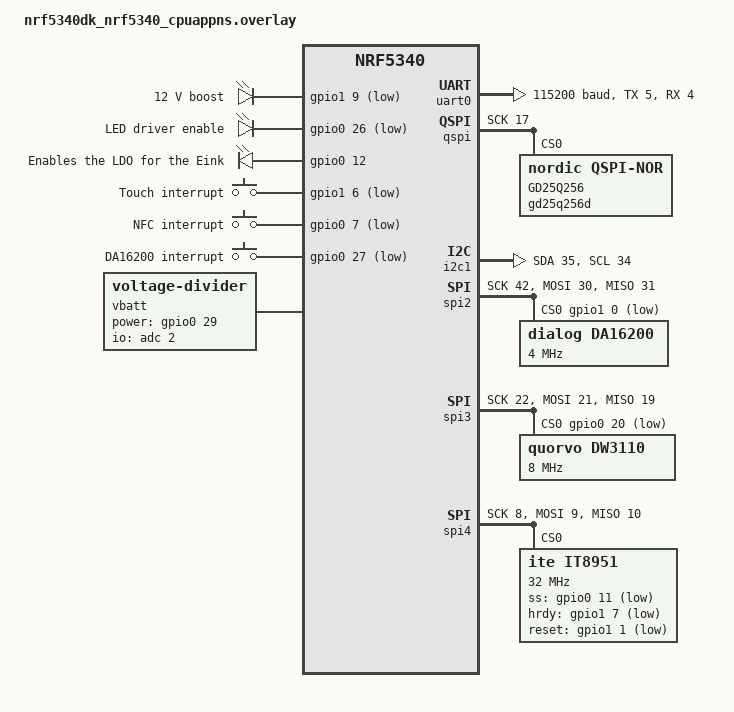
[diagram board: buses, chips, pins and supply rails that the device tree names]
/*
 * Copyright (c) 2020 Culvert, Inc
 *
 * SPDX-License-Identifier: LicenseRef-BSD-5-Clause-Nordic
 */
/ {

	leds {
		compatible = "gpio-leds";
		uwbreset: uwb_reset_1 {
		       gpios = <&gpio1 9 GPIO_ACTIVE_LOW>;
		       label = "12 V boost";
		};
		ledenable: led_enable_1 {
		       gpios = <&gpio0 26 GPIO_ACTIVE_LOW>;
		       label = "LED driver enable";
		};
		p3v3einken: p3v3_eink_en1 {
		       gpios = <&gpio0 12 GPIO_ACTIVE_HIGH>;
		       label = "Enables the LDO for the Eink";
		};
	};

	buttons {
		compatible = "gpio-keys";
		touchinterrupt: touch_interrupt1 {
			gpios = <&gpio1 6 (GPIO_PULL_UP |GPIO_ACTIVE_LOW)>;
			label = "Touch interrupt";
		};

		nfcinterrupt: nfc_interrupt1 {
		       gpios = <&gpio0 7 (GPIO_PULL_UP | GPIO_ACTIVE_LOW)>;
		       label = "NFC interrupt";
		};

		dainterrupt: dialog_interrupt {
		       gpios = <&gpio0 27 (GPIO_PULL_UP | GPIO_ACTIVE_LOW)>;
		       label = "DA16200 interrupt";
		};
	};

	vbatt {
	      compatible = "voltage-divider";
	      io-channels = <&adc 2>;
	      output-ohms = <49900>;
	      full-ohms = <(100000 + 49900)>;
	      power-gpios = <&gpio0 29 GPIO_ACTIVE_HIGH>;
	};
	aliases {
		i2c1 = &i2c1;
		ledenable = &ledenable;
		touchinterrupt = &touchinterrupt;
		nfcinterrupt = &nfcinterrupt;
		p3v3einken = &p3v3einken;
		uwbreset = &uwbreset;
		dainterrupt = &dainterrupt;
	};

	chosen {
		nordic,pm-ext-flash = &gd25q256;
	};


};

&uart0 {
	status = "okay";
	current-speed = <115200>;
	tx-pin = <5>;
	rx-pin = <4>;
};
 
&qspi {
	status = "okay";
	sck-pin = <17>;
	io-pins = <13>, <14>, <15>, <16>;
	csn-pins = <18>;

	// would prefer to delete mx25r64 entirely, not sure it's possible
	// to delete a child node.
	mx25r64: mx25r6435f@0 {
		status = "disabled";
	};
	
	gd25q256: gd25q256d@0 {
		compatible = "nordic,qspi-nor";
		status = "okay";
		reg = <0>;

		//writeoc and readoc are to indicate that all 4 pins are used for data
		//writeoc = "pp4io";
		readoc = "read2io";

		sck-frequency = <32000000>;
		label = "GD25Q256";
		jedec-id = [c8 40 19];

		address-size-32;
		enter-4byte-addr = <0x85>;

		//256MBit
		size = <268435456>;

		//indicate if chip supports a deep power down command - TBD
		//has-dpd;
		//t-enter-dpd = <10000>;
		//t-exit-dpd = <35000>;
	};
};

// using an GD25Q256
/delete-node/ &storage_partition;

//&gd25q256 {
// 	partitions {
//  		compatible = "fixed-partitions";
//  		#address-cells = <1>;
//  		#size-cells = <1>;

//		partition@0 {
//   			label = "storage";
//			reg = <0x00000000 0x00200000>;
//  		};
// 	};
//};


&i2c1 {
	compatible = "nordic,nrf-twim";
	status = "okay";
	sda-pin = <35>; // 1.3 is data
	scl-pin = <34>; // 1.2 is clk = 32+0,32+1,32+2
};

&spi2 {
	compatible = "nordic,nrf-spim";

	status = "okay";
	sck-pin = <42>;
	mosi-pin = <30>;
	miso-pin = <31>;
	cs-gpios = <&gpio1 0 GPIO_ACTIVE_LOW>;

	da16200@0 {
		compatible = "dialog,da16200";
		label = "DA16200";
		spi-max-frequency = <4000000>;
		reg = <0>;
	};

};

&spi3 {
	compatible = "nordic,nrf-spim";

// NOTE: MHR is using this for bringing up the UWB...
// !!!!!!!!REVISIT!!!!!!
	status = "okay";
	sck-pin = <22>;
	mosi-pin = <21>;
	miso-pin = <19>;
	cs-gpios = <&gpio0 20 GPIO_ACTIVE_LOW>;

	uwb@0 {
		compatible = "quorvo,dw3110";
		label = "DW3110";
		spi-max-frequency = <8000000>;
		reg = <0>;
	};

};

&spi4 {
	compatible = "nordic,nrf-spim";
	status = "okay";
	sck-pin = <8>;
	mosi-pin = <9>;
	miso-pin = <10>;

	it8951@0 {
			compatible = "ite,it8951";
			label = "IT8951";
			spi-max-frequency = <32000000>;
			reg = <0>;
			ss-gpios = <&gpio0 11 GPIO_ACTIVE_LOW>;
			hrdy-gpios = <&gpio1 7 GPIO_ACTIVE_LOW>;
			reset-gpios = <&gpio1 1 GPIO_ACTIVE_LOW>;
	};
};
